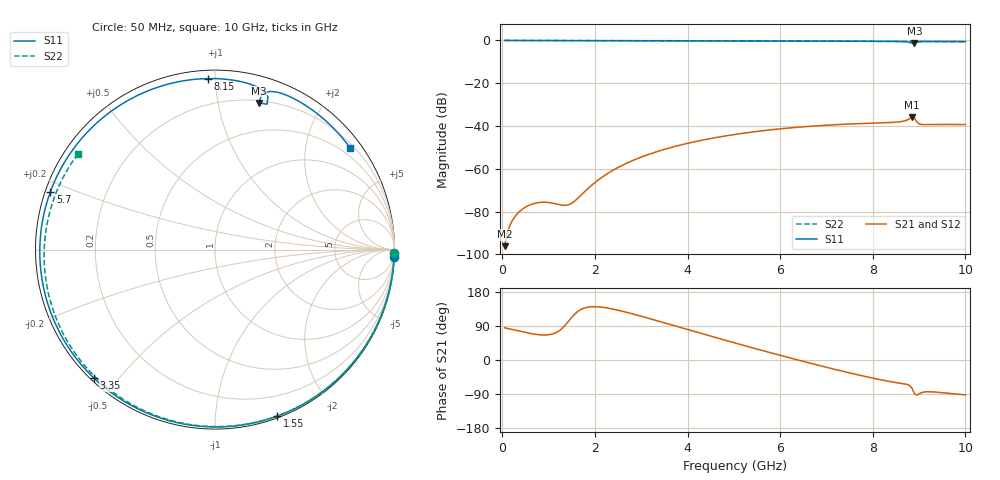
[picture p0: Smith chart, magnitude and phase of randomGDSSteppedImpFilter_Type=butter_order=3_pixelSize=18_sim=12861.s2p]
! freq	dB(S11)	phase(S11)	dB(S12)	phase(S12)
!  dB(S21)	phase(S21)	dB(S22)	phase(S22)
!S-par simulation data
#  GHz  S  DB  R 50
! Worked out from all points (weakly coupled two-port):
!   200 points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, 50 MHz to 10 GHz, reference 50 ohm
!   highest |S21| = -35.73 dB at 8.85 GHz (marker M1); lowest = -96.2 dB at 50 MHz (marker M2)
!   lowest |S11| = -1.4 dB at 8.9 GHz (marker M3), VSWR 12.62, Z = 11 + j66 ohm
!   |S11| at or under -10 dB: nowhere
!   |S22| runs from -0.6 to 0.0 dB; largest |S21 - S12| = 0
!   S11 on the Smith chart (normalised r, x): 50 MHz: 1, -50; 1.55 GHz: 0.01, -1.44; 3.35 GHz: 0.01, -0.43; 5.7 GHz: 0.01, +0.17; 8.15 GHz: 0.05, +0.96; 10 GHz: 0.30, +2.97
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0.05  -0.01 -2.3  -96.20 85.2  -96.20 85.2  -0.00 -1.2
0.35  -0.03 -16.4  -80.45 76.9  -80.45 76.9  -0.02 -8.7
0.7  -0.04 -32.6  -76.17 68.1  -76.17 68.1  -0.02 -17.4
0.95  -0.05 -43.9  -75.68 66.2  -75.68 66.2  -0.03 -23.5
1.35  -0.07 -61.2  -77.13 90.6  -77.13 90.6  -0.04 -33.3
1.55  -0.08 -69.5  -75.34 119.3  -75.34 119.3  -0.05 -38.1
1.75  -0.09 -77.5  -71.29 136.2  -71.29 136.2  -0.05 -42.9
2.45  -0.12 -103.7  -59.99 132.7  -59.99 132.7  -0.08 -59.2
3.35  -0.14 -133.4  -51.92 103.4  -51.92 103.4  -0.10 -79.2
3.4  -0.15 -134.9  -51.58 101.6  -51.58 101.6  -0.10 -80.3
4.2  -0.17 -158.5  -47.15 73.5  -47.15 73.5  -0.13 -97.3
5.05  -0.21 178.1  -43.87 44.1  -43.87 44.1  -0.17 -114.6
5.7  -0.25 160.6  -42.03 22.2  -42.03 22.2  -0.21 -127.4
6.7  -0.30 133.7  -40.05 -10.0  -40.05 -10.0  -0.28 -146.8
7.45  -0.35 112.8  -39.13 -32.7  -39.13 -32.7  -0.34 -161.3
8.15  -0.41 92.4  -38.58 -51.7  -38.58 -51.7  -0.41 -175.2
8.35  -0.44 86.3  -38.41 -56.4  -38.41 -56.4  -0.43 -179.2
8.7  -0.60 74.7  -37.55 -63.4  -37.55 -63.4  -0.47 173.6
8.85  -1.31 70.3  -35.73 -75.2  -35.73 -75.2  -0.48 170.5
8.9  -1.38 73.3  -36.22 -88.8  -36.22 -88.8  -0.49 169.5
9.05  -0.51 68.6  -39.30 -86.2  -39.30 -86.2  -0.50 166.3
10  -0.52 36.9  -39.32 -92.1  -39.32 -92.1  -0.62 145.3
